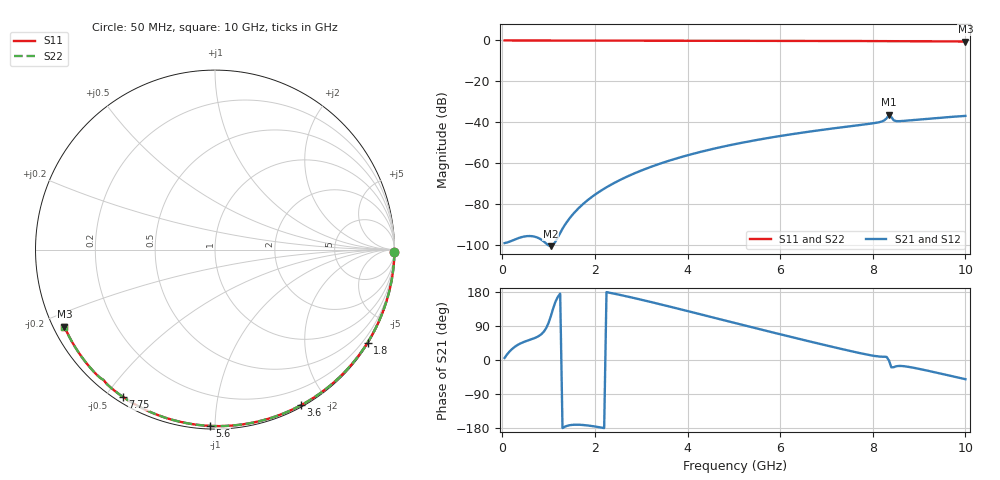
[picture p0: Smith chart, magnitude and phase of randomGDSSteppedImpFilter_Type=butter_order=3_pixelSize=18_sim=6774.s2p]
! freq	dB(S11)	phase(S11)	dB(S12)	phase(S12)
!  dB(S21)	phase(S21)	dB(S22)	phase(S22)
!S-par simulation data
#  GHz  S  DB  R 50
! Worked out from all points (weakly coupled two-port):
!   200 points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, 50 MHz to 10 GHz, reference 50 ohm
!   highest |S21| = -36.41 dB at 8.35 GHz (marker M1); lowest = -100.7 dB at 1.05 GHz (marker M2)
!   lowest |S11| = -0.5 dB at 10 GHz (marker M3), VSWR 33.82, Z = 1.56 - j12.1 ohm
!   |S11| at or under -10 dB: nowhere
!   |S22| runs from -0.5 to 0.0 dB; largest |S21 - S12| = 0
!   S11 on the Smith chart (normalised r, x): 50 MHz: open; 1.8 GHz: 0.03, -3.56; 3.6 GHz: 0.02, -1.70; 5.6 GHz: 0.02, -0.97; 7.75 GHz: 0.02, -0.55; 10 GHz: 0.03, -0.24
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0.05  -0.00 -0.9  -99.22 5.4  -99.22 5.4  -0.00 -0.9
1.05  -0.02 -18.4  -100.73 116.4  -100.73 116.4  -0.02 -18.4
1.75  -0.04 -30.5  -79.98 -171.6  -79.98 -171.6  -0.04 -30.5
1.8  -0.04 -31.3  -79.01 -172.1  -79.01 -172.1  -0.04 -31.3
2.1  -0.05 -36.4  -74.00 -177.5  -74.00 -177.5  -0.05 -36.4
2.5  -0.06 -43.1  -68.80 172.9  -68.80 172.9  -0.06 -43.1
2.9  -0.06 -49.7  -64.63 162.0  -64.63 162.0  -0.06 -49.7
3.4  -0.08 -57.9  -60.37 147.4  -60.37 147.4  -0.08 -57.9
3.6  -0.08 -61.1  -58.89 141.4  -58.89 141.4  -0.08 -61.1
4.3  -0.10 -72.1  -54.45 120.0  -54.45 120.0  -0.10 -72.1
5.05  -0.13 -83.5  -50.65 96.8  -50.65 96.8  -0.13 -83.5
5.6  -0.15 -91.6  -48.31 80.0  -48.31 80.0  -0.15 -91.6
6.7  -0.21 -107.4  -44.42 47.1  -44.42 47.1  -0.21 -107.4
7.75  -0.29 -122.0  -41.34 17.5  -41.34 17.5  -0.29 -122.0
8.2  -0.34 -128.3  -39.64 8.7  -39.64 8.7  -0.34 -128.3
8.25  -0.35 -129.0  -39.12 8.7  -39.12 8.7  -0.35 -129.0
8.3  -0.37 -129.7  -38.10 8.0  -38.10 8.0  -0.37 -129.7
8.35  -0.39 -130.3  -36.41 -1.4  -36.41 -1.4  -0.39 -130.3
8.45  -0.37 -131.4  -39.04 -19.0  -39.04 -19.0  -0.38 -131.4
8.55  -0.36 -132.8  -39.54 -15.8  -39.54 -15.8  -0.36 -132.8
9.25  -0.42 -142.5  -38.20 -30.0  -38.20 -30.0  -0.42 -142.5
10  -0.51 -152.9  -36.95 -50.7  -36.95 -50.7  -0.51 -152.9
